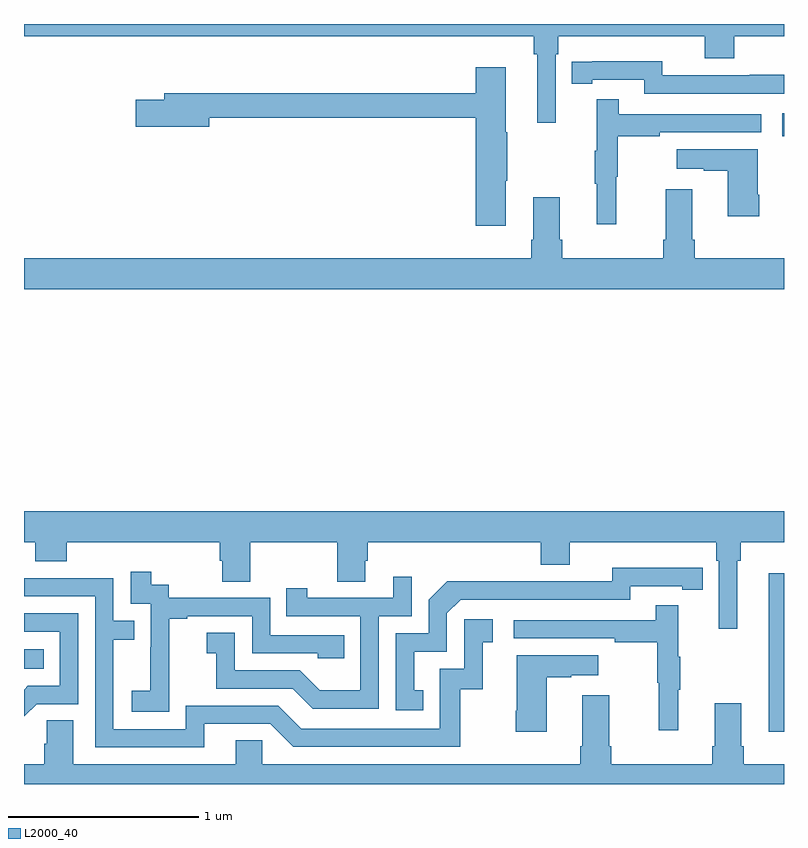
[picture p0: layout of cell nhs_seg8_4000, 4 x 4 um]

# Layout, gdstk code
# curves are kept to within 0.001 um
import gdstk
lib = gdstk.Library(unit=1e-6, precision=1e-09)
def R(c, l, rs):  # rectangles x0, y0, x1, y1
    for r in rs: c.add(gdstk.rectangle(r[:2], r[2:], *l))
def P(c, l, *ps):  # polygons
    for p in ps: c.add(gdstk.Polygon(p, *l))
L2000_40 = (2000, 40)

nhs_seg8_4000 = lib.new_cell('nhs_seg8_4000')
R(nhs_seg8_4000, L2000_40, [(360.92,1110.174,361,1111.009), (357,1110.506,357.104,1110.61), (360.99,1113.309,361,1113.43)])
P(nhs_seg8_4000, L2000_40, [(357,1113.836),(359.683,1113.836),(359.683,1113.74),(359.702,1113.74),(359.702,1113.381),(359.799,1113.381),(359.799,1113.74),(359.813,1113.74),(359.813,1113.836),(360.584,1113.836),(360.584,1113.719),(360.737,1113.719),(360.737,1113.836),(361,1113.836),(361,1113.9),(357,1113.9)],
  [(361,1113.632),(360.82,1113.632),(360.82,1113.63),(360.36,1113.63),(360.36,1113.703),(359.992,1113.703),(359.992,1113.702),(359.884,1113.702),(359.884,1113.586),(359.992,1113.586),(359.992,1113.606),(360.264,1113.606),(360.264,1113.534),(361,1113.534)],
  [(359.536,1113.076),(359.544,1113.076),(359.544,1113.329),(359.536,1113.329),(359.536,1113.673),(359.378,1113.673),(359.378,1113.535),(357.737,1113.535),(357.737,1113.501),(357.588,1113.501),(357.588,1113.359),(357.976,1113.359),(357.976,1113.406),(359.378,1113.406),(359.378,1112.838),(359.536,1112.838)],
  [(360.116,1113.096),(360.124,1113.096),(360.124,1113.31),(360.347,1113.31),(360.347,1113.33),(360.88,1113.33),(360.88,1113.426),(360.131,1113.426),(360.131,1113.505),(360.014,1113.505),(360.014,1113.233),(360.003,1113.233),(360.003,1113.059),(360.014,1113.059),(360.014,1112.847),(360.116,1112.847)],
  [(360.87,1113.001),(360.862,1113.001),(360.862,1113.241),(360.435,1113.241),(360.435,1113.137),(360.578,1113.137),(360.578,1113.127),(360.704,1113.127),(360.704,1112.889),(360.87,1112.889)],
  [(361,1112.668),(360.53,1112.668),(360.53,1112.764),(360.517,1112.764),(360.517,1113.031),(360.377,1113.031),(360.377,1112.764),(360.365,1112.764),(360.365,1112.668),(359.834,1112.668),(359.834,1112.764),(359.821,1112.764),(359.821,1112.989),(359.681,1112.989),(359.681,1112.764),(359.669,1112.764),(359.669,1112.668),(357,1112.668),(357,1112.504),(361,1112.504)],
  [(360.754,1111.076),(360.773,1111.076),(360.773,1111.172),(361,1111.172),(361,1111.336),(357,1111.336),(357,1111.172),(357.059,1111.172),(357.059,1111.073),(357.224,1111.073),(357.224,1111.172),(358.031,1111.172),(358.031,1111.074),(358.043,1111.074),(358.043,1110.964),(358.191,1110.964),(358.191,1111.172),(358.648,1111.172),(358.648,1110.964),(358.795,1110.964),(358.795,1111.074),(358.808,1111.074),(358.808,1111.172),(359.72,1111.172),(359.72,1111.055),(359.872,1111.055),(359.872,1111.172),(360.644,1111.172),(360.644,1111.076),(360.657,1111.076),(360.657,1110.717),(360.754,1110.717)],
  [(359.102,1110.393),(359.053,1110.393),(359.053,1110.597),(359.226,1110.597),(359.226,1110.798),(359.298,1110.87),(360.192,1110.87),(360.192,1110.942),(360.464,1110.942),(360.464,1110.922),(360.572,1110.922),(360.572,1111.038),(360.096,1111.039),(360.096,1110.966),(359.636,1110.966),(359.636,1110.968),(359.228,1110.968),(359.13,1110.87),(359.13,1110.693),(358.956,1110.693),(358.956,1110.288),(359.102,1110.288)],
  [(357.765,1110.487),(357.764,1110.487),(357.764,1110.771),(357.859,1110.771),(357.859,1110.783),(358.2,1110.783),(358.2,1110.588),(358.545,1110.588),(358.545,1110.561),(358.685,1110.561),(358.685,1110.684),(358.296,1110.684),(358.296,1110.879),(357.762,1110.879),(357.762,1110.948),(357.67,1110.948),(357.67,1111.018),(357.561,1111.018),(357.561,1110.849),(357.666,1110.849),(357.666,1110.62),(357.665,1110.62),(357.665,1110.391),(357.567,1110.391),(357.567,1110.281),(357.765,1110.281)],
  [(358.866,1110.783),(359.04,1110.783),(359.04,1110.991),(358.943,1110.991),(358.943,1110.879),(358.492,1110.879),(358.492,1110.931),(358.381,1110.931),(358.381,1110.783),(358.77,1110.783),(358.77,1110.394),(358.556,1110.394),(358.452,1110.498),(358.11,1110.498),(358.11,1110.697),(357.963,1110.697),(357.963,1110.587),(358.012,1110.587),(358.012,1110.402),(358.415,1110.402),(358.52,1110.297),(358.866,1110.297)],
  [(357.949,1110.216),(358.296,1110.216),(358.416,1110.096),(359.296,1110.096),(359.296,1110.399),(359.414,1110.399),(359.414,1110.645),(359.467,1110.645),(359.467,1110.766),(359.316,1110.766),(359.316,1110.507),(359.187,1110.507),(359.187,1110.192),(358.458,1110.192),(358.338,1110.312),(357.852,1110.312),(357.852,1110.189),(357.471,1110.189),(357.471,1110.658),(357.581,1110.658),(357.581,1110.759),(357.471,1110.759),(357.471,1110.984),(357,1110.984),(357,1110.888),(357.375,1110.888),(357.375,1110.093),(357.949,1110.093)],
  [(360.443,1110.395),(360.454,1110.395),(360.454,1110.569),(360.443,1110.569),(360.443,1110.841),(360.325,1110.841),(360.325,1110.762),(359.577,1110.762),(359.577,1110.666),(360.109,1110.666),(360.109,1110.646),(360.333,1110.646),(360.333,1110.432),(360.34,1110.432),(360.34,1110.183),(360.443,1110.183)],
  [(357.066,1110.321),(357.285,1110.321),(357.285,1110.798),(357,1110.798),(357,1110.702),(357.189,1110.702),(357.189,1110.417),(357.02,1110.417),(357,1110.397),(357,1110.256)],
  [(359.752,1110.463),(359.879,1110.463),(359.879,1110.473),(360.022,1110.473),(360.022,1110.577),(359.594,1110.577),(359.594,1110.286),(359.587,1110.286),(359.587,1110.174),(359.752,1110.174)],
  [(361,1110.004),(360.788,1110.004),(360.788,1110.1),(360.775,1110.1),(360.775,1110.325),(360.635,1110.325),(360.635,1110.1),(360.623,1110.1),(360.623,1110.004),(360.092,1110.004),(360.092,1110.1),(360.079,1110.1),(360.079,1110.367),(359.939,1110.367),(359.939,1110.1),(359.927,1110.1),(359.927,1110.004),(358.254,1110.004),(358.254,1110.131),(358.115,1110.131),(358.115,1110.004),(357.259,1110.004),(357.259,1110.236),(357.12,1110.236),(357.12,1110.113),(357.107,1110.113),(357.107,1110.004),(357,1110.004),(357,1109.9),(361,1109.9)])

lib.write_gds('nhs_seg8_4000.gds')
